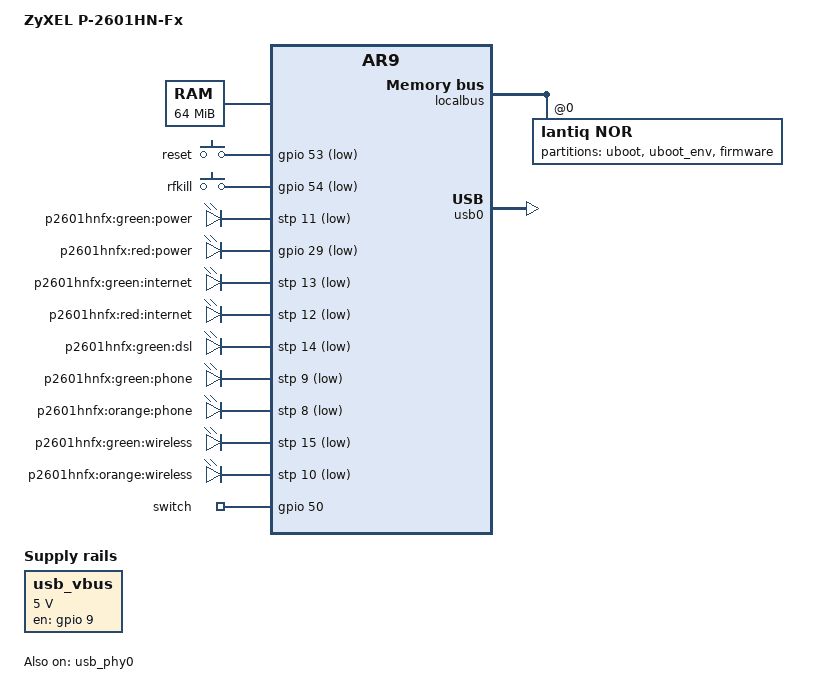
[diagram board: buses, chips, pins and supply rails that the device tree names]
/dts-v1/;

#include "ar9.dtsi"

#include <dt-bindings/input/input.h>

/ {
	compatible = "zyxel,p-2601hn", "lantiq,xway", "lantiq,ar9";
	model = "ZyXEL P-2601HN-Fx";

	chosen {
		bootargs = "console=ttyLTQ0,115200";
	};

	aliases {
		led-boot = &power_green;
		led-failsafe = &power_red;
		led-running = &power_green;

		led-dsl = &dsl;
		led-internet = &online;
		led-wifi = &wifi;
	};

	memory@0 {
		reg = <0x0 0x4000000>;
	};

	gpio-keys-polled {
		compatible = "gpio-keys-polled";
		#address-cells = <1>;
		#size-cells = <0>;
		poll-interval = <100>;

		reset {
			label = "reset";
			gpios = <&gpio 53 GPIO_ACTIVE_LOW>;
			linux,code = <KEY_RESTART>;
		};
		rfkill {
			label = "rfkill";
			gpios = <&gpio 54 GPIO_ACTIVE_LOW>;
			linux,code = <KEY_RFKILL>;
		};
	};

	gpio-leds {
		compatible = "gpio-leds";

		power_green: power {
			label = "p2601hnfx:green:power";
			gpios = <&stp 11 GPIO_ACTIVE_LOW>;
			default-state = "keep";
		};
		power_red: power2 {
			label = "p2601hnfx:red:power";
			gpios = <&gpio 29 GPIO_ACTIVE_LOW>;
		};
		online: online {
			label = "p2601hnfx:green:internet";
			gpios = <&stp 13 GPIO_ACTIVE_LOW>;
		};
		online2 {
			label = "p2601hnfx:red:internet";
			gpios = <&stp 12 GPIO_ACTIVE_LOW>;
		};
		dsl: dsl {
			label = "p2601hnfx:green:dsl";
			gpios = <&stp 14 GPIO_ACTIVE_LOW>;
		};
		phone {
			label = "p2601hnfx:green:phone";
			gpios = <&stp 9 GPIO_ACTIVE_LOW>;
		};
		phone2 {
			label = "p2601hnfx:orange:phone";
			gpios = <&stp 8 GPIO_ACTIVE_LOW>;
		};
		wifi: wifi {
			label = "p2601hnfx:green:wireless";
			gpios = <&stp 15 GPIO_ACTIVE_LOW>;
		};
		wifi2 {
			label = "p2601hnfx:orange:wireless";
			gpios = <&stp 10 GPIO_ACTIVE_LOW>;
		};
	};

	gpio_export {
		compatible = "gpio-export";
		#size-cells = <0>;

		switch {
			gpio-export,name = "switch";
			gpio-export,output = <1>;
			gpios = <&gpio 50 GPIO_ACTIVE_HIGH>;
		};
	};
};

&gpio {
	pinctrl-names = "default";
	pinctrl-0 = <&state_default>;

	state_default: pinmux {
		stp {
			lantiq,groups = "stp";
			lantiq,function = "stp";
			lantiq,pull = <2>;
			lantiq,open-drain = <0>;
			lantiq,output = <1>;
		};
		exin {
			lantiq,groups = "exin1";
			lantiq,function = "exin";
		};
		pci {
			lantiq,groups = "gnt1";
			lantiq,function = "pci";
		};
		conf_out {
			lantiq,pins = "io4", "io5", "io6";
			lantiq,open-drain;
			lantiq,pull = <0>;
		};
		mdio {
			lantiq,groups = "mdio";
			lantiq,function = "mdio";
		};
	};

	usb_vbus: regulator-usb-vbus {
		compatible = "regulator-fixed";

		regulator-name = "USB_VBUS";

		regulator-min-microvolt = <5000000>;
		regulator-max-microvolt = <5000000>;

		gpio = <&gpio 9 GPIO_ACTIVE_HIGH>;
		enable-active-high;
	};
};

&gsw {
	phy-mode = "rmii";
};

&localbus {
	nor@0 {
		compatible = "lantiq,nor";
		bank-width = <2>;
		reg = <0 0x0 0x2000000>;
		#address-cells = <1>;
		#size-cells = <1>;

		partitions {
			compatible = "fixed-partitions";
			#address-cells = <1>;
			#size-cells = <1>;

			partition@0 {
				label = "uboot";
				reg = <0x00000 0x40000>;
				read-only;
			};

			partition@40000 {
				label = "uboot_env";
				reg = <0x40000 0x20000>;
				read-only;
			};

			partition@60000 {
				label = "firmware";
				reg = <0x60000 0xfa0000>;
			};
		};
	};
};

&stp {
	lantiq,shadow = <0xfff>;
	lantiq,groups = <0x3>;
};

&usb_phy0 {
	status = "okay";
	phy-supply = <&usb_vbus>;
};

&usb0 {
	status = "okay";
};
